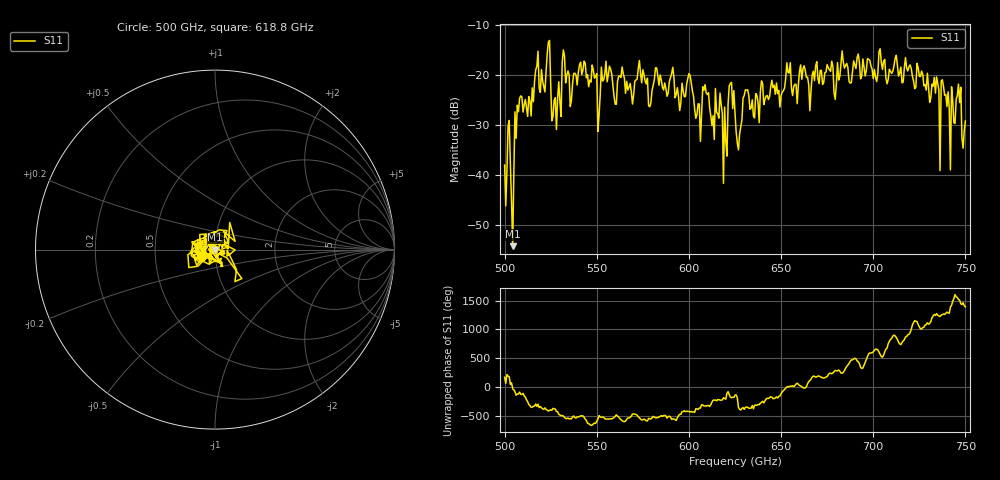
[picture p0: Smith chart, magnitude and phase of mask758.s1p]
!Created with skrf (http://scikit-rf.org).
# GHz S MA R 50.0
!freq magS11 angS11
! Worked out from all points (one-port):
!   401 points, 500 GHz to 750 GHz, reference 50 ohm
!   lowest |S11| = -54.3 dB at 504.4 GHz (marker M1), VSWR 1.00, Z = 50.2 - j0.0956 ohm
!   |S11| at or under -10 dB: start of sweep to end of sweep
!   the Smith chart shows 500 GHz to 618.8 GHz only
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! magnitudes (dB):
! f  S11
! 500 GHz  -38.1
! 502.5 GHz  -29.2
! 504.4 GHz  -54.3
! 508.1 GHz  -24.7
! 513.1 GHz  -24.4
! 523.8 GHz  -13.6
! 526.9 GHz  -25.2
! 531.2 GHz  -17.5
! 548.8 GHz  -20.7
! 550.6 GHz  -31.4
! 562.5 GHz  -20.3
! 593.8 GHz  -22.6
! 600 GHz  -19.8
! 605 GHz  -25.8
! 608.8 GHz  -22.0
! 616.9 GHz  -23.7
! 619.4 GHz  -26.5
! 623.1 GHz  -21.5
! 625 GHz  -27.6
! 626.9 GHz  -35.0
! 630.6 GHz  -23.0
! 656.2 GHz  -24.2
! 687.5 GHz  -21.7
! 718.8 GHz  -19.3
! 738.1 GHz  -22.4
! 743.1 GHz  -25.2
! 746.2 GHz  -21.9
! 750 GHz  -29.3
